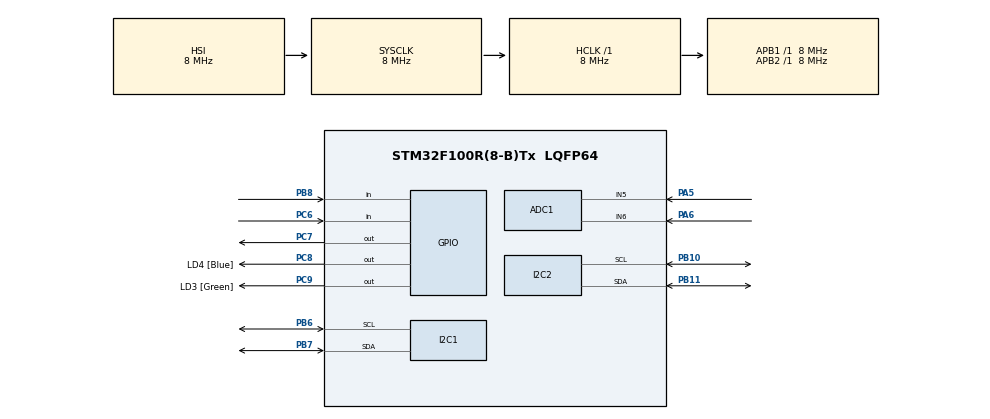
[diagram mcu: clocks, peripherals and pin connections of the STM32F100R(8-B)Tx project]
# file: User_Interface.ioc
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ADC1.Channel-2\#ChannelRegularConversion=ADC_CHANNEL_5
ADC1.Channel-3\#ChannelRegularConversion=ADC_CHANNEL_6
ADC1.EnableRegularConversion=ENABLE
ADC1.NbrOfConversion=2
ADC1.NbrOfConversionFlag=1
ADC1.Rank-2\#ChannelRegularConversion=1
ADC1.Rank-3\#ChannelRegularConversion=2
ADC1.SamplingTime-2\#ChannelRegularConversion=ADC_SAMPLETIME_71CYCLES_5
ADC1.SamplingTime-3\#ChannelRegularConversion=ADC_SAMPLETIME_71CYCLES_5
ADC1.master=1
I2C1.I2C_Mode=I2C_Standard
I2C2.DualAddressMode=I2C_DUALADDRESS_DISABLE
I2C2.GeneralCallMode=I2C_GENERALCALL_DISABLE
I2C2.I2C_Mode=I2C_Standard
I2C2.OwnAddress=0x40
Mcu.Family=STM32F1
Mcu.Name=STM32F100R(8-B)Tx
Mcu.Package=LQFP64
NVIC.I2C2_ER_IRQn=true\:0\:0\:false\:true\:true\:2\:true\:true
NVIC.I2C2_EV_IRQn=true\:0\:0\:false\:true\:true\:1\:true\:true
NVIC.PriorityGroup=NVIC_PRIORITYGROUP_4
PA13.GPIO_Label=TMS_SWDIO
PA13.Mode=Serial_Wire
PA13.Signal=SYS_JTMS-SWDIO
PA14.GPIO_Label=TCK_SWCLK
PA14.Mode=Serial_Wire
PA14.Signal=SYS_JTCK-SWCLK
PA5.Signal=ADCx_IN5
PA6.Signal=ADCx_IN6
PB10.Mode=I2C
PB10.Signal=I2C2_SCL
PB11.Mode=I2C
PB11.Signal=I2C2_SDA
PB6.Mode=I2C
PB6.Signal=I2C1_SCL
PB7.Mode=I2C
PB7.Signal=I2C1_SDA
PB8.Signal=GPIO_Input
PC14-OSC32_IN.Mode=LSE-External-Oscillator
PC14-OSC32_IN.Signal=RCC_OSC32_IN
PC15-OSC32_OUT.Mode=LSE-External-Oscillator
PC15-OSC32_OUT.Signal=RCC_OSC32_OUT
PC6.Signal=GPIO_Input
PC7.Signal=GPIO_Output
PC8.GPIO_Label=LD4 [Blue]
PC8.Signal=GPIO_Output
PC9.GPIO_Label=LD3 [Green]
PC9.Signal=GPIO_Output
PD0-OSC_IN.Mode=HSE-External-Oscillator
PD0-OSC_IN.Signal=RCC_OSC_IN
PD1-OSC_OUT.Mode=HSE-External-Oscillator
PD1-OSC_OUT.Signal=RCC_OSC_OUT
ProjectManager.HeapSize=0x200
ProjectManager.StackSize=0x400
ProjectManager.TargetToolchain=MDK-ARM V5
RCC.AHBFreq_Value=8000000
RCC.APB1Freq_Value=8000000
RCC.APB1TimFreq_Value=8000000
RCC.APB2Freq_Value=8000000
RCC.APB2TimFreq_Value=8000000
RCC.HCLKFreq_Value=8000000
RCC.PLLSource=RCC_PLLSOURCE_HSE
RCC.SYSCLKFreq_VALUE=8000000
SH.ADCx_IN5.0=ADC1_IN5,IN5
SH.ADCx_IN6.0=ADC1_IN6,IN6
board=STM32VLDISCOVERY

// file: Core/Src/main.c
/* USER CODE BEGIN Header */
/**
  ******************************************************************************
  * @file           : main.c
  * @brief          : Main program body
  ******************************************************************************
  * @attention
  *
  * <h2><center>&copy; Copyright (c) 2021 STMicroelectronics.
  * All rights reserved.</center></h2>
  *
  * This software component is licensed by ST under BSD 3-Clause license,
  * the "License"; You may not use this file except in compliance with the
  * License. You may obtain a copy of the License at:
* *                        opensource.org/licenses/BSD-3-Clause
*
* FILENAME :        main.c
*
* DESCRIPTION :
*       main implementation for sensor interface.
				It features a registered I2C slave interrupt callback functions that
				determines which external device the Stm32 is polling.
				It contains interface to the following devices:
					- Infrared Temerature Reading using I2C
					- Infrared SPO2 readings.
						-> This is done by reading raw Infrared data and performing
							 algorithmic calculations in MAX30102.c and algorithm.c.
						-> The code for this was ported from:
						   https://github.com/MaximIntegratedRefDesTeam/RD117_ARDUINO
							 Which is an Arduino code that we transformed to work with
							 the stm32 microcontroller.
					- Reading two Analog infrared sensor, performing ADC conversion and
					  encoding information for which sensor is being used
					- Motor driver output with digital IR sensor input. It reads the digit
					  input and drives the motor driver to dispense hand sanitizer
*
* PUBLIC FUNCTIONS :
*       int     FM_CompressFile( FileHandle )
*       int     FM_DecompressFile( FileHandle )
*
* NOTES :
*       These functions are a part of the FM suite;
*       See IMS FM0121 for detailed description.
*
*       Copyright A.N.Other Co. 1990, 1995.  All rights reserved.
*
* AUTHOR :    Arthur Other        START DATE :    16 Jan 99
*
* CHANGES :
*
* REF NO  VERSION DATE    WHO     DETAIL
* F21/33  A.03.04 22Jan99 JR      Function CalcHuffman corrected
*
*
**********************************************************************************/
/* USER CODE END Header */
#include "main.h"

/* USER CODE BEGIN PTD */
//State Enumeration used in switch statement
typedef enum
{
	IR_UI,
	TEMP,
	SPO2,
	SANITIZE,
	IDLE

} SenseState;

/* USER CODE END PTD */

/* USER CODE BEGIN PD */
#define MAX_BRIGHTNESS 255
/* USER CODE END PD */

/* USER CODE BEGIN PM */
//Codes used by Jetson Nano to read different sensors
#define I2C_SET_TEMP 0x01
#define I2C_SET_SPO2 0x02
#define I2C_SET_UI 0x03
#define I2C_SET_SANITIZER 0x04
#define I2C_SET_IDLE 0x05

#define MLX_I2CADR  0x5A       	// MLX90614 I2C address
#define MLX90614_TAMB	   0x06		//Ambient Temp Register
#define MLX90614_TOBJ1   0x07		//Object 1 Temp Register
#define MLX90614_TOBJ2   0x08		//Object 2 Temp Register

/* USER CODE END PM */

ADC_HandleTypeDef hadc1;

I2C_HandleTypeDef hi2c1;
I2C_HandleTypeDef hi2c2;

/* USER CODE BEGIN PV */
//-----------------------------------------------------------------------------------------------
//Variables for spo2 sensor ported from https://github.com/MaximIntegratedRefDesTeam/RD117_ARDUINO
uint16_t aun_ir_buffer[100]; //infrared LED sensor data
uint16_t aun_red_buffer[100];  //red LED sensor data
int32_t n_ir_buffer_length; //data length
int32_t n_spo2;  //SPO2 value
int8_t ch_spo2_valid;  //indicator to show if the SPO2 calculation is valid
int32_t n_heart_rate; //heart rate value
int8_t  ch_hr_valid;  //indicator to show if the heart rate calculation is valid
uint8_t uch_dummy;
//-----------------------------------------------------------------------------------------------
//Initial state change
char myval[5];
bool state_change = true;
/* USER CODE END PV */

void SystemClock_Config(void);
static void MX_GPIO_Init(void);
static void MX_ADC1_Init(void);
static void MX_I2C2_Init(void);
static void MX_I2C1_Init(void);
static void MX_NVIC_Init(void);
/* USER CODE BEGIN PFP */
//Enable different ADC Channel
void ADC_CH6_Enable(void);
void ADC_CH5_Enable(void);

/* USER CODE END PFP */

/* USER CODE BEGIN 0 */
//Declating state variable
SenseState g_State = IR_UI;

//Right and Left IR UI Analog value
volatile uint16_t IR_Right = 0;
volatile uint16_t IR_Left = 0;

//Encoded value to send to jetson nano for IR UI
volatile uint8_t g_IR_UI_status = 0;

//Temperature buffer and storage variables
volatile uint8_t temperature_buffer[2];
volatile int temp_local_read1;
volatile uint32_t upper_byte = 0;
volatile uint32_t lower_byte = 0;
volatile uint32_t int_temp;

//I2C to Jetson Nano Transmit and Reciever 8 bit buffer
volatile uint8_t g_i2c_rx_buff = 0;
volatile uint8_t g_i2c_tx_buff = 0;

/* USER CODE END 0 */

int main(void)
{

  /* MCU Configuration--------------------------------------------------------*/

  /* Reset of all peripherals, Initializes the Flash interface and the Systick. */
  HAL_Init();

  /* USER CODE BEGIN Init */
	HAL_Delay(2000);
  /* USER CODE END Init */

  /* Configure the system clock */
  SystemClock_Config();

  /* USER CODE BEGIN SysInit */
	HAL_Delay(50);
  /* USER CODE END SysInit */

  /* Initialize all configured peripherals */
  MX_GPIO_Init();
  MX_ADC1_Init();
  MX_I2C2_Init();
  MX_I2C1_Init();

  /* Initialize interrupts */
  MX_NVIC_Init();
  /* USER CODE BEGIN 2 */
	ADC_CH5_Enable();
	HAL_Delay(100);
	//Initialize I2C slave interrupt listen from Jetson Nano
	g_i2c_rx_buff = 0;
	HAL_I2C_EnableListen_IT(&hi2c2);
	HAL_Delay(100);

  /* USER CODE END 2 */

  /* Infinite loop */
  /* USER CODE BEGIN WHILE */
	//-----------------------------------------------------------------------------------------------
	//Variables for spo2 sensor ported from https://github.com/MaximIntegratedRefDesTeam/RD117_ARDUINO
	uint32_t un_min, un_max, un_prev_data, un_brightness;  //variables to calculate the on-board LED brightness that reflects the heartbeats
	int32_t i;
	float f_temp;
	un_brightness=0;
	un_min=0x3FFFF;
	un_max=0;
	//---End of ported code---------------------------------------------------------------------
	// Set initial state to IDLE
	g_State = IDLE;

  while (1)
  {

		switch (g_State)
		{
			case IR_UI:
				// Staring ADC conversion on Channel 6 (Right Infrared Sensor)
				ADC_CH6_Enable();
				HAL_ADC_Start(&hadc1);
				HAL_ADC_PollForConversion(&hadc1, 1000);
				IR_Right = HAL_ADC_GetValue(&hadc1);
				HAL_ADC_Stop(&hadc1);
				// Staring ADC conversion on Channel 5 (Left Infrared Sensor)
				ADC_CH5_Enable();
				HAL_ADC_Start(&hadc1);
				HAL_ADC_PollForConversion(&hadc1, 1000);
				IR_Left = HAL_ADC_GetValue(&hadc1);
				HAL_ADC_Stop(&hadc1);
				// Comparing Analog values of the IR Sensors with threshold for
				//  ...hand detection
				if ((IR_Right > 800) && (IR_Left < 800))
				{
					g_IR_UI_status = 0x1;
				}
				else if((IR_Right < 800) && (IR_Left > 800))
				{
					g_IR_UI_status = 0x4;
				}
				else if ((IR_Right > 800) && (IR_Left > 800))
				{
					g_IR_UI_status = 0x9;
				}
				else
				{
					g_IR_UI_status = 0xF;
				}
				//Output IR status to transmit buffer
				g_i2c_tx_buff = g_IR_UI_status;

				HAL_Delay(50);
				break;
			case TEMP:

				//I2C1 IR Register read from MLX90614
				HAL_I2C_Mem_Read(&hi2c1,MLX_I2CADR<<1, MLX90614_TOBJ1, 1, (uint8_t *)temperature_buffer, sizeof(temperature_buffer), 100);
				upper_byte = temperature_buffer[1];
				lower_byte = temperature_buffer[0];
				int_temp = (upper_byte << 8)| lower_byte;
				//temperature = int_temp*0.02 - 273.15; //Formula from data sheet for temp calculation but omits decimals
				temp_local_read1 = (int_temp << 1) - 27315; //Temp of Object in front of Sensor
				if (temp_local_read1 >= 5100)
				{
					g_i2c_tx_buff = 255;
				}
				else
				{
					g_i2c_tx_buff = temp_local_read1/20;
				}
				HAL_Delay(50);

				break;
			case SPO2:
				if (state_change) //Initial State change
				{
//--------------------------------------------------------------------------------------------------------------------------
//-------------Main code for spo2 sensor ported from https://github.com/MaximIntegratedRefDesTeam/RD117_ARDUINO-------------

					n_ir_buffer_length=100;  //buffer length of 100 stores 4 seconds of samples running at 25sps
					//read the first 100 samples, and determine the signal range
					for(i=0;i<n_ir_buffer_length;i++)
					{
						while(HAL_GPIO_ReadPin (GPIOB, GPIO_PIN_8));  //wait until the interrupt pin asserts
						maxim_max30102_read_fifo((aun_red_buffer+i), (aun_ir_buffer+i));  //read from MAX30102 FIFO

						if(un_min>aun_red_buffer[i])
							un_min=aun_red_buffer[i];  //update signal min
						if(un_max<aun_red_buffer[i])
							un_max=aun_red_buffer[i];  //update signal max

					}
					un_prev_data=aun_red_buffer[i];
					//calculate heart rate and SpO2 after first 100 samples (first 4 seconds of samples)
					maxim_heart_rate_and_oxygen_saturation(aun_ir_buffer, n_ir_buffer_length, aun_red_buffer, &n_spo2, &ch_spo2_valid, &n_heart_rate, &ch_hr_valid);

					maxim_max30102_init(&hi2c1);
					state_change = false;
				}

				i=0;
				un_min=0x3FFFF;
				un_max=0;

				//dumping the first 25 sets of samples in the memory and shift the last 75 sets of samples to the top
				for(i=25;i<100;i++)
				{
					aun_red_buffer[i-25]=aun_red_buffer[i];
					aun_ir_buffer[i-25]=aun_ir_buffer[i];

				//update the signal min and max
					if(un_min>aun_red_buffer[i])
						un_min=aun_red_buffer[i];
					if(un_max<aun_red_buffer[i])
						un_max=aun_red_buffer[i];
				}

				//take 25 sets of samples before calculating the heart rate.
				for(i=75;i<100;i++)
				{
					un_prev_data=aun_red_buffer[i-1];
					while(HAL_GPIO_ReadPin (GPIOB, GPIO_PIN_8));//Interrupt
					//digitalWrite(9, !digitalRead(9));
					maxim_max30102_read_fifo((aun_red_buffer+i), (aun_ir_buffer+i));

					//calculate the brightness of the LED
					if(aun_red_buffer[i]>un_prev_data)
					{
						f_temp=aun_red_buffer[i]-un_prev_data;
						f_temp/=(un_max-un_min);
						f_temp*=MAX_BRIGHTNESS;
						f_temp=un_brightness-f_temp;
					if(f_temp<0)
						un_brightness=0;
					else
						un_brightness=(int)f_temp;
					}
					else
					{
						f_temp=un_prev_data-aun_red_buffer[i];
						f_temp/=(un_max-un_min);
						f_temp*=MAX_BRIGHTNESS;
						un_brightness+=(int)f_temp;
						if(un_brightness>MAX_BRIGHTNESS)
							un_brightness=MAX_BRIGHTNESS;
					}

					maxim_heart_rate_and_oxygen_saturation(aun_ir_buffer, n_ir_buffer_length, aun_red_buffer, &n_spo2, &ch_spo2_valid, &n_heart_rate, &ch_hr_valid);

//-------------End of ported from https://github.com/MaximIntegratedRefDesTeam/RD117_ARDUINO-------------
//--------------------------------------------------------------------------------------------------------------------------

					//Send the spo2 value to I2C global transmit buffer
					if (ch_spo2_valid)
					{
						g_i2c_tx_buff = n_spo2;
					}
					else
					{
						g_i2c_tx_buff = 0xFF;
					}
				}
				break;
			case SANITIZE:
				/* Sanitization Code */
				// Check if PC6 reads 0 value from Sanitizer IR sensor
				if(HAL_GPIO_ReadPin(GPIOC, GPIO_PIN_6) == 0)
				{
					g_i2c_tx_buff = 1;

					__HAL_RCC_I2C2_FORCE_RESET();
					HAL_Delay(5);
					HAL_GPIO_WritePin(GPIOC, GPIO_PIN_7,GPIO_PIN_SET); //pump on
					HAL_Delay(500); //delay for 1 seconds/pump dispense time
					HAL_GPIO_WritePin(GPIOC, GPIO_PIN_7,GPIO_PIN_RESET); // pump off
					HAL_Delay(5);
					__HAL_RCC_I2C2_RELEASE_RESET();
					__HAL_I2C_RESET_HANDLE_STATE(&hi2c2);
					MX_I2C2_Init();
					__HAL_I2C_RESET_HANDLE_STATE(&hi2c1);
					MX_I2C1_Init();
					HAL_I2C_EnableListen_IT(&hi2c2);
					HAL_Delay(5000);
				}

				HAL_Delay(50);
				break;
			case IDLE:

				HAL_Delay(50);
				break;
			}
    /* USER CODE END WHILE */

  }
}

void SystemClock_Config(void)
{
  RCC_OscInitTypeDef RCC_OscInitStruct = {0};
  RCC_ClkInitTypeDef RCC_ClkInitStruct = {0};
  RCC_PeriphCLKInitTypeDef PeriphClkInit = {0};

  /** Initializes the RCC Oscillators according to the specified parameters
  * in the RCC_OscInitTypeDef structure.
  */
  RCC_OscInitStruct.OscillatorType = RCC_OSCILLATORTYPE_HSI;
  RCC_OscInitStruct.HSIState = RCC_HSI_ON;
  RCC_OscInitStruct.HSICalibrationValue = RCC_HSICALIBRATION_DEFAULT;
  RCC_OscInitStruct.PLL.PLLState = RCC_PLL_NONE;
  if (HAL_RCC_OscConfig(&RCC_OscInitStruct) != HAL_OK)
  {
    Error_Handler();
  }
  /** Initializes the CPU, AHB and APB buses clocks
  */
  RCC_ClkInitStruct.ClockType = RCC_CLOCKTYPE_HCLK|RCC_CLOCKTYPE_SYSCLK
                              |RCC_CLOCKTYPE_PCLK1|RCC_CLOCKTYPE_PCLK2;
  RCC_ClkInitStruct.SYSCLKSource = RCC_SYSCLKSOURCE_HSI;
  RCC_ClkInitStruct.AHBCLKDivider = RCC_SYSCLK_DIV1;
  RCC_ClkInitStruct.APB1CLKDivider = RCC_HCLK_DIV1;
  RCC_ClkInitStruct.APB2CLKDivider = RCC_HCLK_DIV1;

  if (HAL_RCC_ClockConfig(&RCC_ClkInitStruct, FLASH_LATENCY_0) != HAL_OK)
  {
    Error_Handler();
  }
  PeriphClkInit.PeriphClockSelection = RCC_PERIPHCLK_ADC;
  PeriphClkInit.AdcClockSelection = RCC_ADCPCLK2_DIV2;
  if (HAL_RCCEx_PeriphCLKConfig(&PeriphClkInit) != HAL_OK)
  {
    Error_Handler();
  }
}

/**
  * @brief NVIC Configuration.
  * @retval None
  */
static void MX_NVIC_Init(void)
{
  /* I2C2_EV_IRQn interrupt configuration */
  HAL_NVIC_SetPriority(I2C2_EV_IRQn, 1, 0);
  HAL_NVIC_EnableIRQ(I2C2_EV_IRQn);
  /* I2C2_ER_IRQn interrupt configuration */
  HAL_NVIC_SetPriority(I2C2_ER_IRQn, 1, 0);
  HAL_NVIC_EnableIRQ(I2C2_ER_IRQn);
}

static void MX_ADC1_Init(void)
{

//  ADC_ChannelConfTypeDef sConfig = {0};

  /** Common config
  */
  hadc1.Instance = ADC1;
  hadc1.Init.ScanConvMode = ADC_SCAN_ENABLE;
  hadc1.Init.ContinuousConvMode = DISABLE;
  hadc1.Init.DiscontinuousConvMode = DISABLE;
  hadc1.Init.ExternalTrigConv = ADC_EXTERNALTRIGCONVEDGE_NONE;
  hadc1.Init.DataAlign = ADC_DATAALIGN_RIGHT;
  hadc1.Init.NbrOfConversion = 1;
  if (HAL_ADC_Init(&hadc1) != HAL_OK)
  {
    Error_Handler();
  }
  /** Configure Regular Channel
  */
//  sConfig.Channel = ADC_CHANNEL_5;
//  sConfig.Rank = ADC_REGULAR_RANK_1;
//  sConfig.SamplingTime = ADC_SAMPLETIME_71CYCLES_5;
//  if (HAL_ADC_ConfigChannel(&hadc1, &sConfig) != HAL_OK)
//  {
//    Error_Handler();
//  }
//  /** Configure Regular Channel
//  */
//  sConfig.Channel = ADC_CHANNEL_6;
//  sConfig.Rank = ADC_REGULAR_RANK_2;
//  if (HAL_ADC_ConfigChannel(&hadc1, &sConfig) != HAL_OK)
//  {
//    Error_Handler();
//  }

}

static void MX_I2C1_Init(void)
{

  hi2c1.Instance = I2C1;
  hi2c1.Init.ClockSpeed = 100000;
  hi2c1.Init.DutyCycle = I2C_DUTYCYCLE_2;
  hi2c1.Init.OwnAddress1 = 0;
  hi2c1.Init.AddressingMode = I2C_ADDRESSINGMODE_7BIT;
  hi2c1.Init.DualAddressMode = I2C_DUALADDRESS_DISABLE;
  hi2c1.Init.OwnAddress2 = 0;
  hi2c1.Init.GeneralCallMode = I2C_GENERALCALL_DISABLE;
  hi2c1.Init.NoStretchMode = I2C_NOSTRETCH_DISABLE;
  if (HAL_I2C_Init(&hi2c1) != HAL_OK)
  {
    Error_Handler();
  }

}

static void MX_I2C2_Init(void)
{

  hi2c2.Instance = I2C2;
  hi2c2.Init.ClockSpeed = 100000;
  hi2c2.Init.DutyCycle = I2C_DUTYCYCLE_2;
  hi2c2.Init.OwnAddress1 = 128;
  hi2c2.Init.AddressingMode = I2C_ADDRESSINGMODE_7BIT;
  hi2c2.Init.DualAddressMode = I2C_DUALADDRESS_DISABLE;
  hi2c2.Init.OwnAddress2 = 0;
  hi2c2.Init.GeneralCallMode = I2C_GENERALCALL_DISABLE;
  hi2c2.Init.NoStretchMode = I2C_NOSTRETCH_DISABLE;
  if (HAL_I2C_Init(&hi2c2) != HAL_OK)
  {
    Error_Handler();
  }

}

static void MX_GPIO_Init(void)
{
  GPIO_InitTypeDef GPIO_InitStruct = {0};

  /* GPIO Ports Clock Enable */
  __HAL_RCC_GPIOC_CLK_ENABLE();
  __HAL_RCC_GPIOD_CLK_ENABLE();
  __HAL_RCC_GPIOA_CLK_ENABLE();
  __HAL_RCC_GPIOB_CLK_ENABLE();

  /*Configure GPIO pin Output Level */
  HAL_GPIO_WritePin(GPIOC, GPIO_PIN_7|LD4_Pin|LD3_Pin, GPIO_PIN_RESET);

  /*Configure GPIO pin : PC6 */
  GPIO_InitStruct.Pin = GPIO_PIN_6;
  GPIO_InitStruct.Mode = GPIO_MODE_INPUT;
  GPIO_InitStruct.Pull = GPIO_NOPULL;
  HAL_GPIO_Init(GPIOC, &GPIO_InitStruct);

  /*Configure GPIO pins : PC7 LD4_Pin LD3_Pin */
  GPIO_InitStruct.Pin = GPIO_PIN_7|LD4_Pin|LD3_Pin;
  GPIO_InitStruct.Mode = GPIO_MODE_OUTPUT_PP;
  GPIO_InitStruct.Pull = GPIO_NOPULL;
  GPIO_InitStruct.Speed = GPIO_SPEED_FREQ_LOW;
  HAL_GPIO_Init(GPIOC, &GPIO_InitStruct);

  /*Configure GPIO pin : PB8 */
  GPIO_InitStruct.Pin = GPIO_PIN_8;
  GPIO_InitStruct.Mode = GPIO_MODE_INPUT;
  GPIO_InitStruct.Pull = GPIO_NOPULL;
  HAL_GPIO_Init(GPIOB, &GPIO_InitStruct);

}

/* USER CODE BEGIN 4 */

//I2C address callback function for communication to Jetson Nano
// Description:
// This call back is genrated when correct I2C address for stm32 Slave is read from Jetson Nano I2C Master
// Transfer direction is determined from variable uint8_t TransferDirection provided by HAL library
// If the Direction is transmit, initialize the device for interupt recieve from Jetson Nano and
// ...store it in global recieve buffer
// If the Direction is recieve, initialize the device for interrupt transmit to Jetson Nano from
// ...from global transmit buffer
void HAL_I2C_AddrCallback (I2C_HandleTypeDef * hi2c, uint8_t TransferDirection, uint16_t AddrMatchCode)
{
	UNUSED(AddrMatchCode);
	HAL_GPIO_TogglePin(GPIOC, GPIO_PIN_9);
	switch (TransferDirection)
	{
		case I2C_DIRECTION_TRANSMIT:
			if (HAL_I2C_Slave_Seq_Receive_IT(&hi2c2, (uint8_t *) &g_i2c_rx_buff, 1, I2C_NEXT_FRAME) != HAL_OK)
			{
				 Error_Handler();
			}

			break;
		case I2C_DIRECTION_RECEIVE:
			if (HAL_I2C_Slave_Seq_Transmit_IT(&hi2c2, (uint8_t *) &g_i2c_tx_buff, 1, I2C_LAST_FRAME) != HAL_OK)
			{
				 Error_Handler();
			}
			break;
	}

}

//This callback function is called at the end of I2C transmit interrupt
//Set transmit buffer to 0.
void HAL_I2C_SlaveTxCpltCallback(I2C_HandleTypeDef *hi2c)
{
	//Send completion callback function
	g_i2c_tx_buff = 0;
	HAL_I2C_EnableListen_IT(&hi2c2);
}

//This callback function is triggered after the I2C recieve interrupt ends.
// It takes the global i2c recieve buffer which contains the data recieved from
// ...Jetson Nano and configures the state.
void HAL_I2C_SlaveRxCpltCallback(I2C_HandleTypeDef *hi2c)
{
	//Receive completion callback function

	switch (g_i2c_rx_buff)
	{
		case I2C_SET_SPO2:
			g_State = SPO2;
			state_change = true;
			g_i2c_tx_buff = 0;
			break;
		case I2C_SET_TEMP :
			g_State = TEMP;
			g_i2c_tx_buff = 0;
			break;
		case I2C_SET_UI :
			g_State = IR_UI;
			g_i2c_tx_buff = 0;
			break;
		case I2C_SET_SANITIZER :
			g_State = SANITIZE;
			g_i2c_tx_buff = 0;
			break;
		case I2C_SET_IDLE :
			g_State = IDLE;
			break;

	}

	g_i2c_rx_buff = 0;
	HAL_I2C_EnableListen_IT(&hi2c2);

}
// This is the last callback function triggered after any I2C communication
//.. which renables the interrupt listen on the I2C bus.
void HAL_I2C_ListenCpltCallback(I2C_HandleTypeDef *hi2c)
{
  HAL_I2C_EnableListen_IT(&hi2c2); // Restart
	//HAL_GPIO_WritePin(GPIOC, GPIO_PIN_9, GPIO_PIN_SET);
}

void ADC_CH5_Enable(void)
{
  /** Configure Regular Channel
  */
	ADC_ChannelConfTypeDef sConfig = {0};
  sConfig.Channel = ADC_CHANNEL_5;
  sConfig.Rank = 1;
  sConfig.SamplingTime = ADC_SAMPLETIME_7CYCLES_5;
  if (HAL_ADC_ConfigChannel(&hadc1, &sConfig) != HAL_OK)
  {
    Error_Handler();
  }
}
void ADC_CH6_Enable(void)
{
  /** Configure Regular Channel
  */
	ADC_ChannelConfTypeDef sConfig = {0};
  sConfig.Channel = ADC_CHANNEL_6;
  sConfig.Rank = 1;
	sConfig.SamplingTime = ADC_SAMPLETIME_7CYCLES_5;
  if (HAL_ADC_ConfigChannel(&hadc1, &sConfig) != HAL_OK)
  {
    Error_Handler();
  }
}
/* USER CODE END 4 */

void Error_Handler(void)
{
  __disable_irq();
  while (1)
  {
  }
}

/************************ (C) COPYRIGHT STMicroelectronics *****END OF FILE****/
